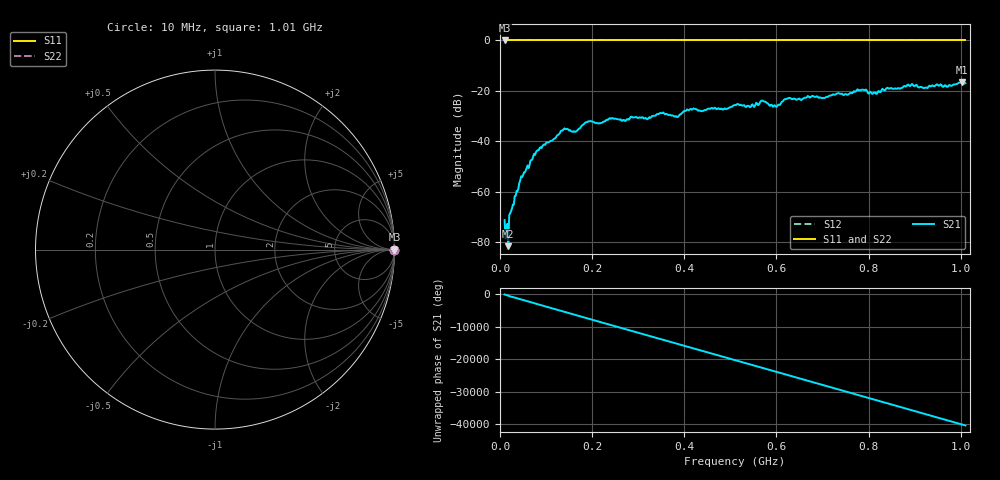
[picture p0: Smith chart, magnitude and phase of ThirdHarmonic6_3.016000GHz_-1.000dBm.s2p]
! 8/17/2025 8:40:02 AM
! C:\ANRITSUVNA\TEMP\TEMP.S2P
! CHANNEL.1
! TR.MEASUREMENT
! RAW.DATA
! RF.CORRECTION.OFF
! AVERAGING.OFF
! IF.BANDWIDTH: 5KHZ
! SWEEPTYPE:  FREQ.SWEEP(Linear)
! Reference Plane Port Info
! PORT:  PORT1  PORT2
! DISTANCE:  0  m  0  m
! TIME:  0  s  0  s
! PHASE.OFFSET:  0  deg.  0  deg.
! LOSS:  0  dB  0  dB
! REF.LOSS:  0  dB  0  dB
! REF.FREQ:  0  Hz  0  Hz
! Power Info
! POWER:  -20  dBm  -20  dBm
! EFF.POWER:  -20  dBm  -20  dBm
! SOURCE.ATTEN:  0  dB  0  dB
! TEST.ATTEN:  0  dB  0  dB
# GHZ S RI R 50.0
! FREQ.GHZ  S11RE  S11IM  S21RE  S21IM  S12RE  S12IM  S22RE  S22IM
!; PortSelection: Port_12
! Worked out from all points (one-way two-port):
!   501 points, 10 MHz to 1.01 GHz, reference 50 ohm
!   highest |S21| = -16.42 dB at 1.002 GHz (marker M1); lowest = -81.6 dB at 18 MHz (marker M2)
!   lowest |S11| = 0.0 dB at 10 MHz (marker M3)
!   |S11| at or under -10 dB: nowhere
!   |S22| runs from 0.0 to 0.0 dB; largest |S21 - S12| = 1.1
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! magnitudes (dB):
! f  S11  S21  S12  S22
! 10 MHz  0.0  -71.2  0.0  0.0
! 14 MHz  0.0  -73.9  0.0  0.0
! 18 MHz  0.0  -81.6  0.0  0.0
! 24 MHz  0.0  -67.7  0.0  0.0
! 46 MHz  0.0  -53.9  0.0  0.0
! 78 MHz  0.0  -44.3  0.0  0.0
! 136 MHz  0.0  -35.7  0.0  0.0
! 162 MHz  0.0  -36.2  0.0  0.0
! 178 MHz  0.0  -33.7  0.0  0.0
! 344 MHz  0.0  -29.2  0.0  0.0
! 384 MHz  0.0  -30.3  0.0  0.0
! 410 MHz  0.0  -27.7  0.0  0.0
! 510 MHz  0.0  -25.6  0.0  0.0
! 570 MHz  0.0  -23.9  0.0  0.0
! 596 MHz  0.0  -25.7  0.0  0.0
! 624 MHz  0.0  -23.0  0.0  0.0
! 678 MHz  0.0  -22.0  0.0  0.0
! 780 MHz  0.0  -19.8  0.0  0.0
! 814 MHz  0.0  -20.6  0.0  0.0
! 844 MHz  0.0  -19.1  0.0  0.0
! 1.002 GHz  0.0  -16.4  0.0  0.0
! 1.01 GHz  0.0  -16.9  0.0  0.0
